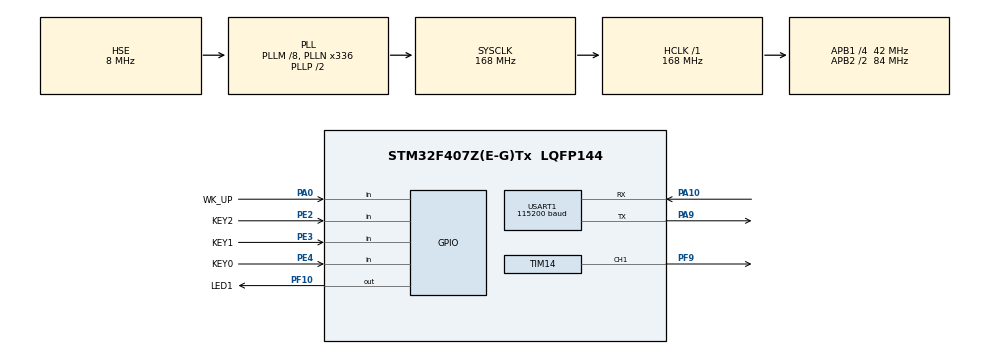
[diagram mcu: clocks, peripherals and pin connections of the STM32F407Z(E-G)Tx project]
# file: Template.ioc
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Dma.Request0=USART1_RX
Dma.USART1_RX.0.Direction=DMA_PERIPH_TO_MEMORY
Dma.USART1_RX.0.FIFOMode=DMA_FIFOMODE_DISABLE
Dma.USART1_RX.0.Instance=DMA2_Stream2
Dma.USART1_RX.0.MemDataAlignment=DMA_MDATAALIGN_BYTE
Dma.USART1_RX.0.MemInc=DMA_MINC_ENABLE
Dma.USART1_RX.0.Mode=DMA_NORMAL
Dma.USART1_RX.0.PeriphDataAlignment=DMA_PDATAALIGN_BYTE
Dma.USART1_RX.0.PeriphInc=DMA_PINC_DISABLE
Dma.USART1_RX.0.Priority=DMA_PRIORITY_LOW
Mcu.Family=STM32F4
Mcu.Name=STM32F407Z(E-G)Tx
Mcu.Package=LQFP144
NVIC.DMA2_Stream2_IRQn=true\:1\:0\:true\:false\:true\:false\:true\:true
NVIC.PriorityGroup=NVIC_PRIORITYGROUP_4
NVIC.TIM6_DAC_IRQn=true\:2\:0\:true\:false\:true\:true\:true\:true
NVIC.USART1_IRQn=true\:1\:0\:true\:false\:true\:false\:false\:false
PA0-WKUP.GPIO_Label=WK_UP
PA0-WKUP.GPIO_PuPd=GPIO_PULLDOWN
PA0-WKUP.Signal=GPIO_Input
PA10.Mode=Asynchronous
PA10.Signal=USART1_RX
PA9.Mode=Asynchronous
PA9.Signal=USART1_TX
PC14-OSC32_IN.Mode=LSE-External-Oscillator
PC14-OSC32_IN.Signal=RCC_OSC32_IN
PC15-OSC32_OUT.Mode=LSE-External-Oscillator
PC15-OSC32_OUT.Signal=RCC_OSC32_OUT
PE2.GPIO_Label=KEY2
PE2.GPIO_PuPd=GPIO_PULLUP
PE2.Signal=GPIO_Input
PE3.GPIO_Label=KEY1
PE3.GPIO_PuPd=GPIO_PULLUP
PE3.Signal=GPIO_Input
PE4.GPIO_Label=KEY0
PE4.GPIO_PuPd=GPIO_PULLUP
PE4.Signal=GPIO_Input
PF10.GPIO_Label=LED1
PF10.GPIO_Speed=GPIO_SPEED_FREQ_HIGH
PF10.PinState=GPIO_PIN_SET
PF10.Signal=GPIO_Output
PF9.Signal=S_TIM14_CH1
PH0-OSC_IN.Mode=HSE-External-Oscillator
PH0-OSC_IN.Signal=RCC_OSC_IN
PH1-OSC_OUT.Mode=HSE-External-Oscillator
PH1-OSC_OUT.Signal=RCC_OSC_OUT
ProjectManager.HeapSize=0x200
ProjectManager.StackSize=0x400
ProjectManager.TargetToolchain=MDK-ARM V5.32
RCC.48MHZClocksFreq_Value=84000000
RCC.AHBFreq_Value=168000000
RCC.APB1CLKDivider=RCC_HCLK_DIV4
RCC.APB1Freq_Value=42000000
RCC.APB1TimFreq_Value=84000000
RCC.APB2CLKDivider=RCC_HCLK_DIV2
RCC.APB2Freq_Value=84000000
RCC.APB2TimFreq_Value=168000000
RCC.CortexFreq_Value=168000000
RCC.HCLKFreq_Value=168000000
RCC.HSE_VALUE=8000000
RCC.HSI_VALUE=16000000
RCC.PLLM=8
RCC.PLLN=336
RCC.PLLSourceVirtual=RCC_PLLSOURCE_HSE
RCC.SYSCLKFreq_VALUE=168000000
RCC.SYSCLKSource=RCC_SYSCLKSOURCE_PLLCLK
RCC.VCOOutputFreq_Value=336000000
SH.S_TIM14_CH1.0=TIM14_CH1,PWM Generation1 CH1
TIM14.AutoReloadPreload=TIM_AUTORELOAD_PRELOAD_ENABLE
TIM14.Channel=TIM_CHANNEL_1
TIM14.OCPolarity_1=TIM_OCPOLARITY_LOW
TIM14.Period=499
TIM14.Prescaler=83
TIM6.Period=4999
TIM6.Prescaler=83
USART1.BaudRate=115200
USART1.VirtualMode=VM_ASYNC
USART1.VirtualMode-Asynchronous=VM_ASYNC
VP_TIM14_VS_ClockSourceINT.Mode=Enable_Timer
VP_TIM6_VS_ClockSourceINT.Mode=Enable_Timer
board=custom

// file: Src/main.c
/* USER CODE BEGIN Header */
/**
  ******************************************************************************
  * @file           : main.c
  * @brief          : Main program body
  ******************************************************************************
  * @attention
  *
  * Copyright (c) 2026 STMicroelectronics.
  * All rights reserved.
  *
  * This software is licensed under terms that can be found in the LICENSE file
  * in the root directory of this software component.
  * If no LICENSE file comes with this software, it is provided AS-IS.
  *
  ******************************************************************************
  */
/* USER CODE END Header */
#include "main.h"
#include "dma.h"
#include "tim.h"
#include "usart.h"
#include "gpio.h"

/* USER CODE BEGIN Includes */
#include <stdio.h>      /* main.c 自己也调用了 printf，必须单独包含（跨文件不共享 include） */
#include "uart_app.h"   /* 用户代码：printf 重定向 + IDLE/DMA 接收 */
#include "key_app.h"    /* 用户代码：4 键采样状态机 */
#include "pwm_app.h"    /* 用户代码：TIM14_CH1/PF9 PWM */
#include "tick_app.h"   /* 用户代码：TIM6 5ms 时基 */
/* USER CODE END Includes */

void SystemClock_Config(void);

int main(void)
{

  /* MCU Configuration--------------------------------------------------------*/

  /* Reset of all peripherals, Initializes the Flash interface and the Systick. */
  HAL_Init();

  /* Configure the system clock */
  SystemClock_Config();

  /* Initialize all configured peripherals */
  MX_GPIO_Init();
  MX_DMA_Init();
  MX_USART1_UART_Init();
  MX_TIM6_Init();
  MX_TIM14_Init();
  /* USER CODE BEGIN 2 */
  /* 用户代码：初始化串口应用（开 IDLE 中断 + 启动 DMA 接收）。
     必须最先做，后面几个模块的 Init 里都有 printf。 */
  UART_App_Init(&huart1);
  printf("Hello from USART1 @ 115200 8N1  " UART_APP_VERSION "\r\n");

  /* 用户代码：启动 PWM。用 100% 亮度闪一下做启动指示 —— 效果和阶段 2 的
     "点亮 DS0" 一样，但走的是 TIM14 通道，等于顺手验证了 PWM 通路。 */
  PWM_App_Init();
  PWM_SetDutyPercent(100u);
  HAL_Delay(200);
  /* 必须显式切回 AUTO：PWM_SetDutyPercent 内部会把模式设成 FIXED，
     不切回来的话上电后呼吸不会启动，DS0 会一直灭着。 */
  PWM_SetModeAuto();

  /* 用户代码：初始化按键（按当前电平对齐状态表）。
     必须在 Tick_App_Init 之前：TIM6 一开就会每 5ms 扫一次键。 */
  Key_App_Init();

  /* 用户代码：最后启动 5ms 时基，从这一刻起按键采样和呼吸灯都跑起来 */
  Tick_App_Init();

  printf("> ");
  /* USER CODE END 2 */

  /* Infinite loop */
  while (1)
  {

    /* USER CODE BEGIN 3 */
    /* 按键事件优先处理，保证 LED 反馈及时 */
    Key_Process();

    /* 用户代码：轮询处理串口收到的帧（IDLE+DMA） */
    UART_App_Process();

    /* 1ms 轮询周期：按键响应延迟上限约 1ms + 打印耗时。
       注：原 01-uart 里这里还有 DS0/DS1 心跳翻转 + HAL_Delay(500)，
       本阶段必须去掉——心跳会与按键指示抢同一对 LED，500ms 延时
       还会让按键看起来"反应迟钝"甚至"时好时坏"。 */
    HAL_Delay(1);
  }
  /* USER CODE END 3 */
}

void SystemClock_Config(void)
{
  RCC_OscInitTypeDef RCC_OscInitStruct = {0};
  RCC_ClkInitTypeDef RCC_ClkInitStruct = {0};

  /** Configure the main internal regulator output voltage
  */
  __HAL_RCC_PWR_CLK_ENABLE();
  __HAL_PWR_VOLTAGESCALING_CONFIG(PWR_REGULATOR_VOLTAGE_SCALE1);

  /** Initializes the RCC Oscillators according to the specified parameters
  * in the RCC_OscInitTypeDef structure.
  */
  RCC_OscInitStruct.OscillatorType = RCC_OSCILLATORTYPE_HSE;
  RCC_OscInitStruct.HSEState = RCC_HSE_ON;
  RCC_OscInitStruct.PLL.PLLState = RCC_PLL_ON;
  RCC_OscInitStruct.PLL.PLLSource = RCC_PLLSOURCE_HSE;
  RCC_OscInitStruct.PLL.PLLM = 8;
  RCC_OscInitStruct.PLL.PLLN = 336;
  RCC_OscInitStruct.PLL.PLLP = RCC_PLLP_DIV2;
  RCC_OscInitStruct.PLL.PLLQ = 4;
  if (HAL_RCC_OscConfig(&RCC_OscInitStruct) != HAL_OK)
  {
    Error_Handler();
  }

  /** Initializes the CPU, AHB and APB buses clocks
  */
  RCC_ClkInitStruct.ClockType = RCC_CLOCKTYPE_HCLK|RCC_CLOCKTYPE_SYSCLK
                              |RCC_CLOCKTYPE_PCLK1|RCC_CLOCKTYPE_PCLK2;
  RCC_ClkInitStruct.SYSCLKSource = RCC_SYSCLKSOURCE_PLLCLK;
  RCC_ClkInitStruct.AHBCLKDivider = RCC_SYSCLK_DIV1;
  RCC_ClkInitStruct.APB1CLKDivider = RCC_HCLK_DIV4;
  RCC_ClkInitStruct.APB2CLKDivider = RCC_HCLK_DIV2;

  if (HAL_RCC_ClockConfig(&RCC_ClkInitStruct, FLASH_LATENCY_5) != HAL_OK)
  {
    Error_Handler();
  }
}

void Error_Handler(void)
{
  __disable_irq();
  while (1)
  {
  }
}
